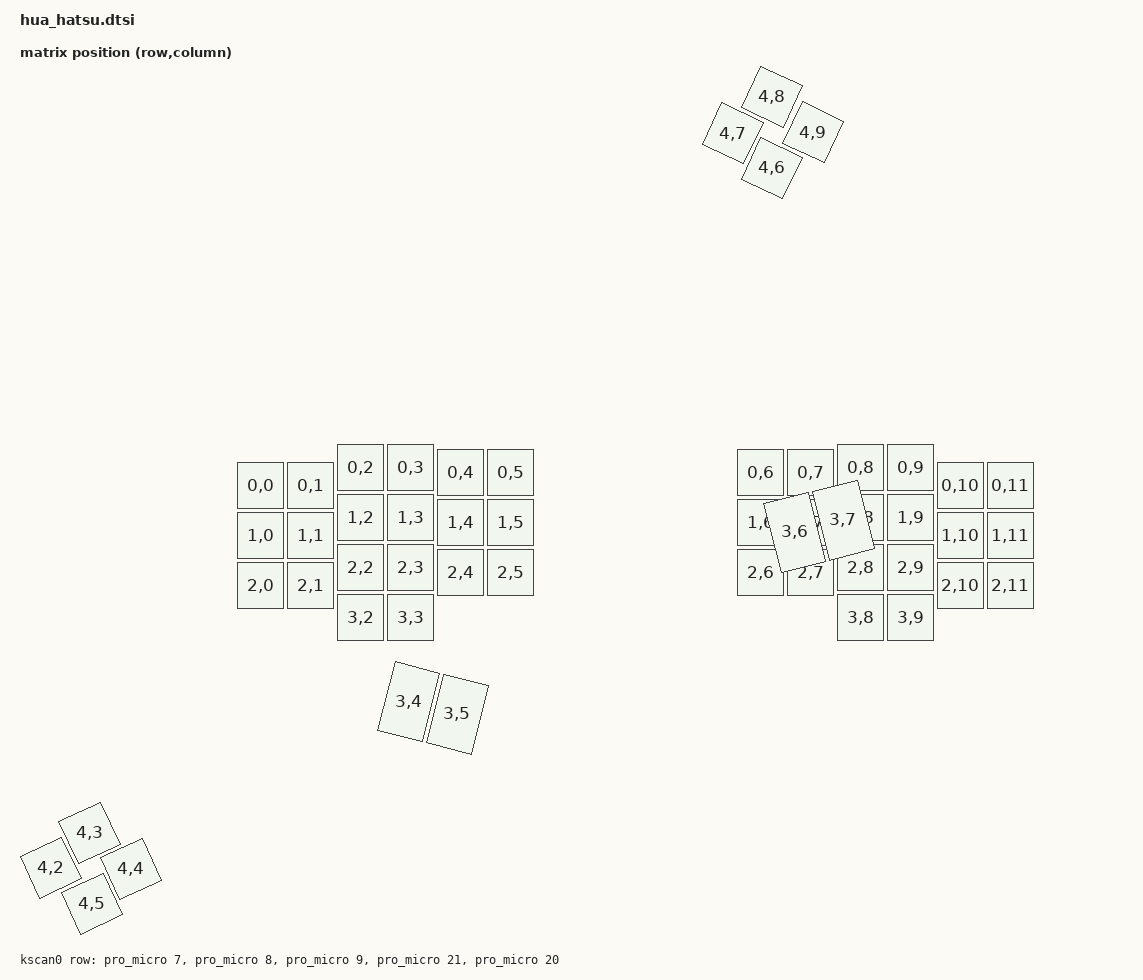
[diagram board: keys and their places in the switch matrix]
/*
 * Copyright (c) 2020 Pete Johanson
 *
 * SPDX-License-Identifier: MIT
 */

#include <dt-bindings/zmk/matrix_transform.h>
#include <physical_layouts.dtsi>

/ {
	chosen {
        zephyr,display = &oled;
		zmk,kscan = &kscan0;
		zmk,physical-layout = &hua_hatsu_layout;  // 引入物理布局
	};

	default_transform: keymap_transform_0 {
		compatible = "zmk,matrix-transform";
		columns = <12>;
		rows = <5>;
		map = <
        RC(0,0) RC(0,1) RC(0,2) RC(0,3) RC(0,4) RC(0,5)    RC(0,6)  RC(0,7) RC(0,8) RC(0,9) RC(0,10) RC(0,11)
        RC(1,0) RC(1,1) RC(1,2) RC(1,3) RC(1,4) RC(1,5)    RC(1,6)  RC(1,7) RC(1,8) RC(1,9) RC(1,10) RC(1,11)
        RC(2,0) RC(2,1) RC(2,2) RC(2,3) RC(2,4) RC(2,5)    RC(2,6)  RC(2,7) RC(2,8) RC(2,9) RC(2,10) RC(2,11)
                    RC(3,2) RC(3,3) RC(3,4) RC(3,5)    RC(3,6)  RC(3,7) RC(3,8) RC(3,9) 
                    RC(4,2) RC(4,3) RC(4,4) RC(4,5)    RC(4,6)  RC(4,7) RC(4,8) RC(4,9) 
		>;
	};

    // ===================== 物理布局 =====================
    hua_hatsu_layout: hua_hatsu_layout {
        compatible = "zmk,physical-layout";
        transform = <&default_transform>;
        display-name = "Hua_Hatsu_Layout";
         keys  //                     w   h    x    y     rot    rx    ry
            // 第一行  
            = <&key_physical_attrs 100 100    0   36       0     0     0>
            , <&key_physical_attrs 100 100  100   36       0     0     0>
            , <&key_physical_attrs 100 100  200    0       0     0     0>
            , <&key_physical_attrs 100 100  300    0       0     0     0>
            , <&key_physical_attrs 100 100  400   11       0     0     0>
            , <&key_physical_attrs 100 100  500   11       0     0     0>
            , <&key_physical_attrs 100 100 1000   11       0     0     0>
            , <&key_physical_attrs 100 100 1100   11       0     0     0>
            , <&key_physical_attrs 100 100 1200    0       0     0     0>
            , <&key_physical_attrs 100 100 1300    0       0     0     0>
            , <&key_physical_attrs 100 100 1400   36       0     0     0>
            , <&key_physical_attrs 100 100 1500   36       0     0     0>
            // 第二行  
            , <&key_physical_attrs 100 100    0  136       0     0     0>
            , <&key_physical_attrs 100 100  100  136       0     0     0>
            , <&key_physical_attrs 100 100  200  100       0     0     0>
            , <&key_physical_attrs 100 100  300  100       0     0     0>
            , <&key_physical_attrs 100 100  400  111       0     0     0>
            , <&key_physical_attrs 100 100  500  111       0     0     0>
            , <&key_physical_attrs 100 100 1000  111       0     0     0>
            , <&key_physical_attrs 100 100 1100  111       0     0     0>
            , <&key_physical_attrs 100 100 1200  100       0     0     0>
            , <&key_physical_attrs 100 100 1300  100       0     0     0>
            , <&key_physical_attrs 100 100 1400  136       0     0     0>
            , <&key_physical_attrs 100 100 1500  136       0     0     0>
            // 第三行  
            , <&key_physical_attrs 100 100    0  236       0     0     0>
            , <&key_physical_attrs 100 100  100  236       0     0     0>
            , <&key_physical_attrs 100 100  200  200       0     0     0>
            , <&key_physical_attrs 100 100  300  200       0     0     0>
            , <&key_physical_attrs 100 100  400  211       0     0     0>
            , <&key_physical_attrs 100 100  500  211       0     0     0>
            , <&key_physical_attrs 100 100 1000  211       0     0     0>
            , <&key_physical_attrs 100 100 1100  211       0     0     0>
            , <&key_physical_attrs 100 100 1200  200       0     0     0>
            , <&key_physical_attrs 100 100 1300  200       0     0     0>
            , <&key_physical_attrs 100 100 1400  236       0     0     0>
            , <&key_physical_attrs 100 100 1500  236       0     0     0>
            // 第四行
            , <&key_physical_attrs 100 100  200  300       0     0     0>
            , <&key_physical_attrs 100 100  300  300       0     0     0>
            , <&key_physical_attrs 100 150  412  345    1400     0     0>
            , <&key_physical_attrs 100 150  512  345    1400     0     0>
            , <&key_physical_attrs 100 150  992  370 (-1400)     0     0>
            , <&key_physical_attrs 100 150 1092  370 (-1400)     0     0>
            , <&key_physical_attrs 100 100 1200  300       0     0     0>
            , <&key_physical_attrs 100 100 1300  300       0     0     0>
            // 第五/六行 左边
            , <&key_physical_attrs 100 100  565  645    6500     0     0>
            , <&key_physical_attrs 100 100  535  545    6500     0     0>
            , <&key_physical_attrs 100 100  635  500    6500     0     0>
            , <&key_physical_attrs 100 100  665  600    6500     0     0>
            // 第五/六行 右边
            , <&key_physical_attrs 100 100  900  690 (-6500)     0     0>
            , <&key_physical_attrs 100 100  930  590 (-6500)     0     0>
            , <&key_physical_attrs 100 100 1030  630 (-6500)     0     0>
            , <&key_physical_attrs 100 100 1000  735 (-6500)     0     0>
            ;
    };

	kscan0: kscan {
		compatible = "zmk,kscan-gpio-matrix";
		diode-direction = "row2col";

		row-gpios
        = <&pro_micro 7 GPIO_ACTIVE_HIGH> // Row A from the schematic file
        , <&pro_micro 8 GPIO_ACTIVE_HIGH> // Row B from the schematic file
        , <&pro_micro 9 GPIO_ACTIVE_HIGH> // Row C from the schematic file
        , <&pro_micro 21 GPIO_ACTIVE_HIGH> // Row D from the schematic file
        , <&pro_micro 20 GPIO_ACTIVE_HIGH> // Row E from the schematic file
        ;
	};

};

&pro_micro_i2c {
    status = "okay";

    oled: ssd1306@3c {
        compatible = "solomon,ssd1306fb";
        reg = <0x3c>;
        width = <128>;
        height = <32>;
        segment-offset = <0>;
        page-offset = <0>;
        display-offset = <0>;
        multiplex-ratio = <31>;
        segment-remap;
        com-invdir;
        com-sequential;
        inversion-on;
        prechargep = <0x22>;
    };
};
